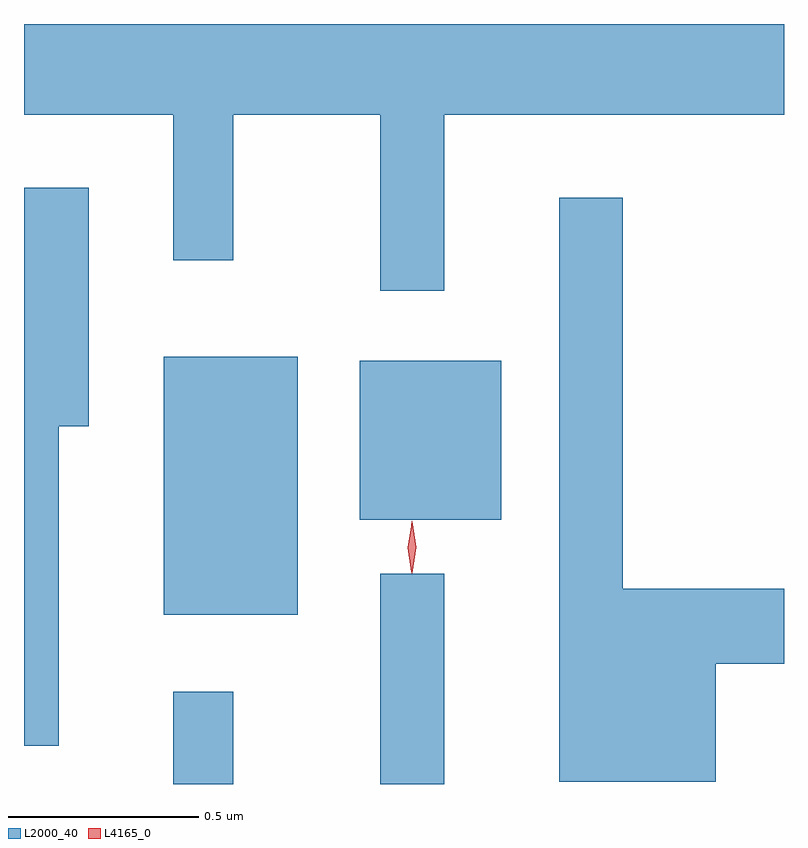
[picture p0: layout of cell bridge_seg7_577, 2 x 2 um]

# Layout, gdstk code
import gdstk
lib = gdstk.Library(unit=1e-6, precision=1e-09)
def R(c, l, rs):  # rectangles x0, y0, x1, y1
    for r in rs: c.add(gdstk.rectangle(r[:2], r[2:], *l))
def P(c, l, *ps):  # polygons
    for p in ps: c.add(gdstk.Polygon(p, *l))
L2000_40 = (2000, 40)
L4165_0 = (4165, 0)

bridge_seg7_577 = lib.new_cell('bridge_seg7_577')
R(bridge_seg7_577, L2000_40, [(981.816,1745.855,981.974,1746.098), (982.361,1745.855,982.529,1746.408), (981.791,1746.301,982.144,1746.979), (982.306,1746.551,982.679,1746.969)])
P(bridge_seg7_577, L2000_40, [(982.529,1747.616),(983.423,1747.616),(983.423,1747.855),(981.423,1747.855),(981.423,1747.616),(981.816,1747.616),(981.816,1747.233),(981.974,1747.233),(981.974,1747.616),(982.361,1747.616),(982.361,1747.153),(982.529,1747.153)],
  [(981.514,1746.796),(981.594,1746.796),(981.594,1747.424),(981.423,1747.424),(981.423,1745.956),(981.514,1745.956)],
  [(983.244,1746.171),(983.423,1746.171),(983.423,1746.369),(982.999,1746.369),(982.999,1747.398),(982.831,1747.398),(982.831,1745.861),(983.244,1745.861)])
P(bridge_seg7_577, L4165_0, [(982.445,1746.409),(982.444,1746.41),(982.435,1746.478),(982.444,1746.546),(982.445,1746.546),(982.445,1746.546),(982.455,1746.478),(982.445,1746.41)],
  [(982.442,1746.413),(982.442,1746.413),(982.433,1746.477),(982.443,1746.541),(982.444,1746.542),(982.444,1746.541),(982.453,1746.477),(982.443,1746.413)])

lib.write_gds('bridge_seg7_577.gds')
